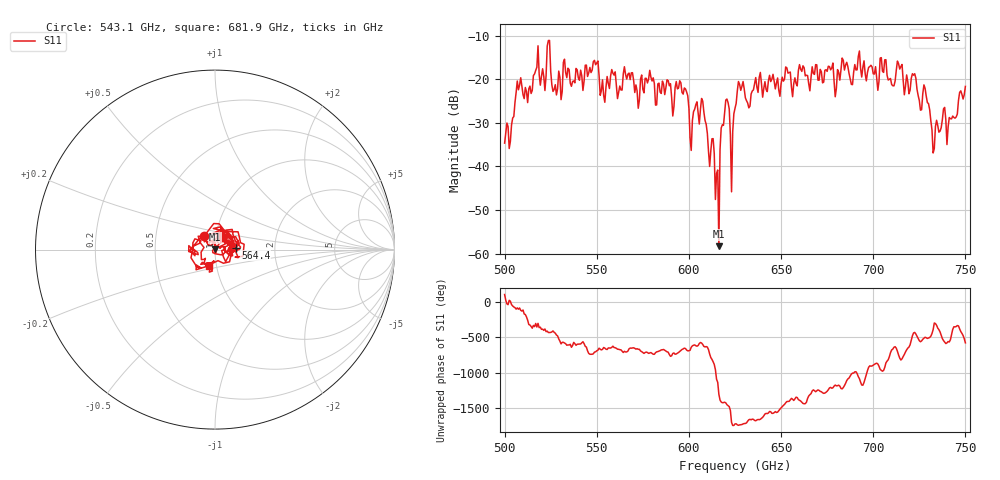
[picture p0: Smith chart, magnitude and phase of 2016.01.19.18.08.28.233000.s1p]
!Created with skrf (http://scikit-rf.org).
# GHz S RI R 50.0
!freq ReS11 ImS11
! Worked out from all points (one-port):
!   401 points, 500 GHz to 750 GHz, reference 50 ohm
!   lowest |S11| = -58.3 dB at 616.2 GHz (marker M1), VSWR 1.00, Z = 49.9 + j0.0864 ohm
!   |S11| at or under -10 dB: start of sweep to end of sweep
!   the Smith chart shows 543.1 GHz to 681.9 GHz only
!   S11 on the Smith chart (normalised r, x): 543.1 GHz: 0.87, +0.13; 564.4 GHz: 1.26, +0.03; 681.9 GHz: 0.92, -0.17
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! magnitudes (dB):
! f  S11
! 500 GHz  -34.6
! 503.8 GHz  -30.5
! 507.5 GHz  -22.4
! 513.8 GHz  -21.6
! 516.9 GHz  -17.9
! 531.2 GHz  -22.8
! 543.1 GHz  -20.4
! 549.4 GHz  -16.6
! 553.1 GHz  -20.1
! 562.5 GHz  -21.5
! 564.4 GHz  -18.8
! 593.8 GHz  -22.2
! 601.2 GHz  -36.3
! 607.5 GHz  -25.0
! 615 GHz  -41.6
! 616.2 GHz  -58.3
! 619.4 GHz  -27.7
! 623.8 GHz  -32.1
! 625 GHz  -26.7
! 628.1 GHz  -22.5
! 656.2 GHz  -24.0
! 681.9 GHz  -20.2
! 687.5 GHz  -20.0
! 714.4 GHz  -17.6
! 718.8 GHz  -20.5
! 728.8 GHz  -23.9
! 732.5 GHz  -36.9
! 750 GHz  -21.6
